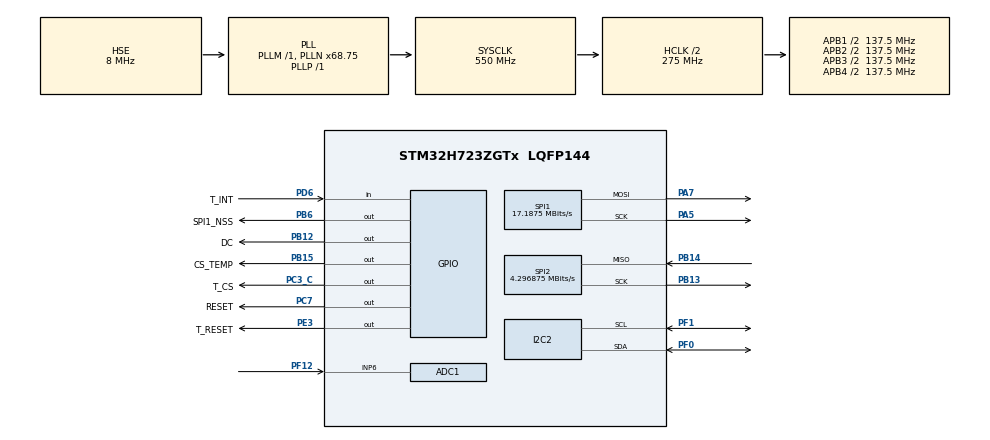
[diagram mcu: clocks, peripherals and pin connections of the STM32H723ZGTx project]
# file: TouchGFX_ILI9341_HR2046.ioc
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ADC1.Channel-4\#ChannelRegularConversion=ADC_CHANNEL_6
ADC1.ClockPrescaler=ADC_CLOCK_ASYNC_DIV256
ADC1.NbrOfConversionFlag=1
ADC1.OffsetNumber-4\#ChannelRegularConversion=ADC_OFFSET_NONE
ADC1.OffsetSignedSaturation-4\#ChannelRegularConversion=DISABLE
ADC1.Rank-4\#ChannelRegularConversion=1
ADC1.SamplingTime-4\#ChannelRegularConversion=ADC_SAMPLETIME_810CYCLES_5
ADC1.master=1
Dma.Request0=SPI1_TX
Dma.SPI1_TX.0.Direction=DMA_MEMORY_TO_PERIPH
Dma.SPI1_TX.0.EventEnable=DISABLE
Dma.SPI1_TX.0.FIFOMode=DMA_FIFOMODE_ENABLE
Dma.SPI1_TX.0.FIFOThreshold=DMA_FIFO_THRESHOLD_FULL
Dma.SPI1_TX.0.Instance=DMA1_Stream0
Dma.SPI1_TX.0.MemBurst=DMA_MBURST_SINGLE
Dma.SPI1_TX.0.MemDataAlignment=DMA_MDATAALIGN_BYTE
Dma.SPI1_TX.0.MemInc=DMA_MINC_ENABLE
Dma.SPI1_TX.0.Mode=DMA_NORMAL
Dma.SPI1_TX.0.PeriphBurst=DMA_PBURST_SINGLE
Dma.SPI1_TX.0.PeriphDataAlignment=DMA_PDATAALIGN_BYTE
Dma.SPI1_TX.0.PeriphInc=DMA_PINC_DISABLE
Dma.SPI1_TX.0.Polarity=HAL_DMAMUX_REQ_GEN_RISING
Dma.SPI1_TX.0.Priority=DMA_PRIORITY_LOW
Dma.SPI1_TX.0.RequestNumber=1
Dma.SPI1_TX.0.SignalID=NONE
Dma.SPI1_TX.0.SyncEnable=DISABLE
Dma.SPI1_TX.0.SyncPolarity=HAL_DMAMUX_SYNC_NO_EVENT
Dma.SPI1_TX.0.SyncRequestNumber=1
Dma.SPI1_TX.0.SyncSignalID=NONE
I2C2.Speed=100
I2C2.Timing=0x60404E72
Mcu.Family=STM32H7
Mcu.Name=STM32H723ZGTx
Mcu.Package=LQFP144
NVIC.DMA1_Stream0_IRQn=true\:0\:0\:false\:false\:true\:false\:true\:true
NVIC.PriorityGroup=NVIC_PRIORITYGROUP_4
NVIC.SPI1_IRQn=true\:0\:0\:false\:false\:true\:true\:true\:true
NVIC.TIM2_IRQn=true\:0\:0\:false\:false\:true\:true\:true\:true
NVIC.TIM3_IRQn=true\:0\:0\:false\:false\:true\:true\:true\:true
NVIC.TIM4_IRQn=true\:0\:0\:false\:false\:true\:true\:true\:true
PA5.Mode=TX_Only_Simplex_Unidirect_Master
PA5.Signal=SPI1_SCK
PA7.Mode=TX_Only_Simplex_Unidirect_Master
PA7.Signal=SPI1_MOSI
PB12.GPIO_Label=DC
PB12.Signal=GPIO_Output
PB13.Mode=RX_Only_Simplex_Unidirect_Master
PB13.Signal=SPI2_SCK
PB14.Mode=RX_Only_Simplex_Unidirect_Master
PB14.Signal=SPI2_MISO
PB15.GPIO_Label=CS_TEMP
PB15.Signal=GPIO_Output
PB6.GPIO_Label=SPI1_NSS
PB6.Signal=GPIO_Output
PC3_C.GPIO_Label=T_CS
PC3_C.Signal=GPIO_Output
PC7.GPIO_Label=RESET
PC7.Signal=GPIO_Output
PD6.GPIO_Label=T_INT
PD6.Signal=GPIO_Input
PE3.GPIO_Label=T_RESET
PE3.Signal=GPIO_Output
PF0.Mode=I2C
PF0.Signal=I2C2_SDA
PF1.Mode=I2C
PF1.Signal=I2C2_SCL
PF12.Mode=IN6-Single-Ended
PF12.Signal=ADC1_INP6
PH0-OSC_IN.Mode=HSE-External-Oscillator
PH0-OSC_IN.Signal=RCC_OSC_IN
PH1-OSC_OUT.Mode=HSE-External-Oscillator
PH1-OSC_OUT.Signal=RCC_OSC_OUT
ProjectManager.HeapSize=0x200
ProjectManager.StackSize=0x400
ProjectManager.TargetToolchain=STM32CubeIDE
RCC.ADCFreq_Value=96000000
RCC.APB1Freq_Value=137500000
RCC.APB2Freq_Value=137500000
RCC.APB3Freq_Value=137500000
RCC.APB4Freq_Value=137500000
RCC.CortexFreq_Value=550000000
RCC.D1PPRE=RCC_APB3_DIV2
RCC.D2PPRE1=RCC_APB1_DIV2
RCC.D2PPRE2=RCC_APB2_DIV2
RCC.D3PPRE=RCC_APB4_DIV2
RCC.DIVM1=1
RCC.DIVM2=1
RCC.DIVN1=68
RCC.DIVN2=24
RCC.DIVP1=1
RCC.DIVQ1=4
RCC.HCLKFreq_Value=275000000
RCC.HPRE=RCC_HCLK_DIV2
RCC.HSE_VALUE=8000000
RCC.PLLFRACN=6144
RCC.PLLSourceVirtual=RCC_PLLSOURCE_HSE
RCC.SYSCLKFreq_VALUE=550000000
RCC.SYSCLKSource=RCC_SYSCLKSOURCE_PLLCLK
RCC.USBCLockSelection=RCC_USBCLKSOURCE_HSI48
RCC.USBFreq_Value=48000000
SPI1.BaudRatePrescaler=SPI_BAUDRATEPRESCALER_8
SPI1.CalculateBaudRate=17.1875 MBits/s
SPI1.DataSize=SPI_DATASIZE_8BIT
SPI1.Direction=SPI_DIRECTION_2LINES_TXONLY
SPI1.Mode=SPI_MODE_MASTER
SPI1.VirtualType=VM_MASTER
SPI2.BaudRatePrescaler=SPI_BAUDRATEPRESCALER_32
SPI2.CalculateBaudRate=4.296875 MBits/s
SPI2.DataSize=SPI_DATASIZE_16BIT
SPI2.Direction=SPI_DIRECTION_2LINES_RXONLY
SPI2.Mode=SPI_MODE_MASTER
SPI2.VirtualType=VM_MASTER
STMicroelectronics.X-CUBE-TOUCHGFX.4.20.0.ApplicationCcGraphicsJjApplication=TouchGFXOoGenerator
STMicroelectronics.X-CUBE-TOUCHGFX.4.20.0.tgfx_buffering_strategy=Partial
STMicroelectronics.X-CUBE-TOUCHGFX.4.20.0.tgfx_custom_height=240
STMicroelectronics.X-CUBE-TOUCHGFX.4.20.0.tgfx_custom_width=320
STMicroelectronics.X-CUBE-TOUCHGFX.4.20.0_IsPackSelfContextualization=true
TIM2.Period=500
TIM2.Prescaler=27500-1
TIM3.Period=2500-1
TIM3.Prescaler=27500-1
TIM4.Period=100-1
TIM4.Prescaler=27500-1
VP_CRC_VS_CRC.Mode=CRC_Activate
VP_STMicroelectronics.X-CUBE-TOUCHGFX_VS_GraphicsJjApplication_4.20.0.Mode=GraphicsJjApplication
VP_TIM2_VS_ClockSourceINT.Mode=Internal
VP_TIM3_VS_ClockSourceINT.Mode=Internal
VP_TIM4_VS_ClockSourceINT.Mode=Internal
board=NUCLEO-H723ZG

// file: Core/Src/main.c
/* USER CODE BEGIN Header */
/**
  ******************************************************************************
  * @file           : main.c
  * @brief          : Main program body
  ******************************************************************************
  * @attention
  *
  * Copyright (c) 2022 STMicroelectronics.
  * All rights reserved.
  *
  * This software is licensed under terms that can be found in the LICENSE file
  * in the root directory of this software component.
  * If no LICENSE file comes with this software, it is provided AS-IS.
  *
  ******************************************************************************
  */
/* USER CODE END Header */
#include "main.h"
#include "app_touchgfx.h"

/* USER CODE BEGIN Includes */
#include "../../Display_drivers/ili9341.h"
#include "../../Hardware_Interfacee/temp_sensor.h"
#include "../../Hardware_Interfacee/pressure_sensor.h"
#include "FIR.h"

/* USER CODE END Includes */

ADC_HandleTypeDef hadc1;

CRC_HandleTypeDef hcrc;

I2C_HandleTypeDef hi2c2;

SPI_HandleTypeDef hspi1;
SPI_HandleTypeDef hspi2;
DMA_HandleTypeDef hdma_spi1_tx;

TIM_HandleTypeDef htim2;
TIM_HandleTypeDef htim3;
TIM_HandleTypeDef htim4;

void SystemClock_Config(void);
static void MX_GPIO_Init(void);
static void MX_SPI1_Init(void);
static void MX_DMA_Init(void);
static void MX_TIM2_Init(void);
static void MX_CRC_Init(void);
static void MX_I2C2_Init(void);
static void MX_SPI2_Init(void);
static void MX_TIM3_Init(void);
static void MX_ADC1_Init(void);
static void MX_TIM4_Init(void);

/* USER CODE BEGIN 0 */
extern void touchgfxSignalVSync();
/* USER CODE END 0 */

int main(void)
{

  /* MCU Configuration--------------------------------------------------------*/

  /* Reset of all peripherals, Initializes the Flash interface and the Systick. */
  HAL_Init();

  /* Configure the system clock */
  SystemClock_Config();

  /* USER CODE BEGIN SysInit */
  __HAL_RCC_DMA1_CLK_ENABLE();

  //init digital filters
  FIRFilter_pressure_Init();
  FIRFilter_temp_Init();

  /* USER CODE END SysInit */

  /* Initialize all configured peripherals */
  MX_GPIO_Init();
  MX_SPI1_Init();
  MX_DMA_Init();
  MX_TIM2_Init();
  MX_CRC_Init();
  MX_I2C2_Init();
  MX_SPI2_Init();
  MX_TIM3_Init();
  MX_ADC1_Init();
  MX_TIM4_Init();
  MX_TouchGFX_Init();
  /* USER CODE BEGIN 2 */

  //calibrate adc1
  HAL_ADCEx_Calibration_Start(&hadc1, ADC_CALIB_OFFSET_LINEARITY, ADC_SINGLE_ENDED);

  //start timers
    HAL_TIM_Base_Start_IT(&htim2);
    HAL_TIM_Base_Start_IT(&htim3);
    HAL_TIM_Base_Start_IT(&htim4);

  /* USER CODE END 2 */

  /* Infinite loop */
  while (1)
  {

  MX_TouchGFX_Process();
  }
}

void SystemClock_Config(void)
{
  RCC_OscInitTypeDef RCC_OscInitStruct = {0};
  RCC_ClkInitTypeDef RCC_ClkInitStruct = {0};

  /** Supply configuration update enable
  */
  HAL_PWREx_ConfigSupply(PWR_LDO_SUPPLY);

  /** Configure the main internal regulator output voltage
  */
  __HAL_PWR_VOLTAGESCALING_CONFIG(PWR_REGULATOR_VOLTAGE_SCALE0);

  while(!__HAL_PWR_GET_FLAG(PWR_FLAG_VOSRDY)) {}

  /** Macro to configure the PLL clock source
  */
  __HAL_RCC_PLL_PLLSOURCE_CONFIG(RCC_PLLSOURCE_HSE);

  /** Initializes the RCC Oscillators according to the specified parameters
  * in the RCC_OscInitTypeDef structure.
  */
  RCC_OscInitStruct.OscillatorType = RCC_OSCILLATORTYPE_HSE;
  RCC_OscInitStruct.HSEState = RCC_HSE_ON;
  RCC_OscInitStruct.PLL.PLLState = RCC_PLL_ON;
  RCC_OscInitStruct.PLL.PLLSource = RCC_PLLSOURCE_HSE;
  RCC_OscInitStruct.PLL.PLLM = 1;
  RCC_OscInitStruct.PLL.PLLN = 68;
  RCC_OscInitStruct.PLL.PLLP = 1;
  RCC_OscInitStruct.PLL.PLLQ = 4;
  RCC_OscInitStruct.PLL.PLLR = 2;
  RCC_OscInitStruct.PLL.PLLRGE = RCC_PLL1VCIRANGE_3;
  RCC_OscInitStruct.PLL.PLLVCOSEL = RCC_PLL1VCOWIDE;
  RCC_OscInitStruct.PLL.PLLFRACN = 6144;
  if (HAL_RCC_OscConfig(&RCC_OscInitStruct) != HAL_OK)
  {
    Error_Handler();
  }

  /** Initializes the CPU, AHB and APB buses clocks
  */
  RCC_ClkInitStruct.ClockType = RCC_CLOCKTYPE_HCLK|RCC_CLOCKTYPE_SYSCLK
                              |RCC_CLOCKTYPE_PCLK1|RCC_CLOCKTYPE_PCLK2
                              |RCC_CLOCKTYPE_D3PCLK1|RCC_CLOCKTYPE_D1PCLK1;
  RCC_ClkInitStruct.SYSCLKSource = RCC_SYSCLKSOURCE_PLLCLK;
  RCC_ClkInitStruct.SYSCLKDivider = RCC_SYSCLK_DIV1;
  RCC_ClkInitStruct.AHBCLKDivider = RCC_HCLK_DIV2;
  RCC_ClkInitStruct.APB3CLKDivider = RCC_APB3_DIV2;
  RCC_ClkInitStruct.APB1CLKDivider = RCC_APB1_DIV2;
  RCC_ClkInitStruct.APB2CLKDivider = RCC_APB2_DIV2;
  RCC_ClkInitStruct.APB4CLKDivider = RCC_APB4_DIV2;

  if (HAL_RCC_ClockConfig(&RCC_ClkInitStruct, FLASH_LATENCY_3) != HAL_OK)
  {
    Error_Handler();
  }
}

static void MX_ADC1_Init(void)
{

  ADC_MultiModeTypeDef multimode = {0};
  ADC_ChannelConfTypeDef sConfig = {0};

  /** Common config
  */
  hadc1.Instance = ADC1;
  hadc1.Init.ClockPrescaler = ADC_CLOCK_ASYNC_DIV256;
  hadc1.Init.Resolution = ADC_RESOLUTION_16B;
  hadc1.Init.ScanConvMode = ADC_SCAN_DISABLE;
  hadc1.Init.EOCSelection = ADC_EOC_SINGLE_CONV;
  hadc1.Init.LowPowerAutoWait = DISABLE;
  hadc1.Init.ContinuousConvMode = DISABLE;
  hadc1.Init.NbrOfConversion = 1;
  hadc1.Init.DiscontinuousConvMode = DISABLE;
  hadc1.Init.ExternalTrigConv = ADC_SOFTWARE_START;
  hadc1.Init.ExternalTrigConvEdge = ADC_EXTERNALTRIGCONVEDGE_NONE;
  hadc1.Init.ConversionDataManagement = ADC_CONVERSIONDATA_DR;
  hadc1.Init.Overrun = ADC_OVR_DATA_PRESERVED;
  hadc1.Init.LeftBitShift = ADC_LEFTBITSHIFT_NONE;
  hadc1.Init.OversamplingMode = DISABLE;
  if (HAL_ADC_Init(&hadc1) != HAL_OK)
  {
    Error_Handler();
  }

  /** Configure the ADC multi-mode
  */
  multimode.Mode = ADC_MODE_INDEPENDENT;
  if (HAL_ADCEx_MultiModeConfigChannel(&hadc1, &multimode) != HAL_OK)
  {
    Error_Handler();
  }

  /** Configure Regular Channel
  */
  sConfig.Channel = ADC_CHANNEL_6;
  sConfig.Rank = ADC_REGULAR_RANK_1;
  sConfig.SamplingTime = ADC_SAMPLETIME_810CYCLES_5;
  sConfig.SingleDiff = ADC_SINGLE_ENDED;
  sConfig.OffsetNumber = ADC_OFFSET_NONE;
  sConfig.Offset = 0;
  sConfig.OffsetSignedSaturation = DISABLE;
  if (HAL_ADC_ConfigChannel(&hadc1, &sConfig) != HAL_OK)
  {
    Error_Handler();
  }

}

static void MX_CRC_Init(void)
{

  hcrc.Instance = CRC;
  hcrc.Init.DefaultPolynomialUse = DEFAULT_POLYNOMIAL_ENABLE;
  hcrc.Init.DefaultInitValueUse = DEFAULT_INIT_VALUE_ENABLE;
  hcrc.Init.InputDataInversionMode = CRC_INPUTDATA_INVERSION_NONE;
  hcrc.Init.OutputDataInversionMode = CRC_OUTPUTDATA_INVERSION_DISABLE;
  hcrc.InputDataFormat = CRC_INPUTDATA_FORMAT_BYTES;
  if (HAL_CRC_Init(&hcrc) != HAL_OK)
  {
    Error_Handler();
  }

}

static void MX_I2C2_Init(void)
{

  hi2c2.Instance = I2C2;
  hi2c2.Init.Timing = 0x60404E72;
  hi2c2.Init.OwnAddress1 = 0;
  hi2c2.Init.AddressingMode = I2C_ADDRESSINGMODE_7BIT;
  hi2c2.Init.DualAddressMode = I2C_DUALADDRESS_DISABLE;
  hi2c2.Init.OwnAddress2 = 0;
  hi2c2.Init.OwnAddress2Masks = I2C_OA2_NOMASK;
  hi2c2.Init.GeneralCallMode = I2C_GENERALCALL_DISABLE;
  hi2c2.Init.NoStretchMode = I2C_NOSTRETCH_DISABLE;
  if (HAL_I2C_Init(&hi2c2) != HAL_OK)
  {
    Error_Handler();
  }

  /** Configure Analogue filter
  */
  if (HAL_I2CEx_ConfigAnalogFilter(&hi2c2, I2C_ANALOGFILTER_ENABLE) != HAL_OK)
  {
    Error_Handler();
  }

  /** Configure Digital filter
  */
  if (HAL_I2CEx_ConfigDigitalFilter(&hi2c2, 0) != HAL_OK)
  {
    Error_Handler();
  }

}

static void MX_SPI1_Init(void)
{

  /* SPI1 parameter configuration*/
  hspi1.Instance = SPI1;
  hspi1.Init.Mode = SPI_MODE_MASTER;
  hspi1.Init.Direction = SPI_DIRECTION_2LINES_TXONLY;
  hspi1.Init.DataSize = SPI_DATASIZE_8BIT;
  hspi1.Init.CLKPolarity = SPI_POLARITY_LOW;
  hspi1.Init.CLKPhase = SPI_PHASE_1EDGE;
  hspi1.Init.NSS = SPI_NSS_SOFT;
  hspi1.Init.BaudRatePrescaler = SPI_BAUDRATEPRESCALER_8;
  hspi1.Init.FirstBit = SPI_FIRSTBIT_MSB;
  hspi1.Init.TIMode = SPI_TIMODE_DISABLE;
  hspi1.Init.CRCCalculation = SPI_CRCCALCULATION_DISABLE;
  hspi1.Init.CRCPolynomial = 0x0;
  hspi1.Init.NSSPMode = SPI_NSS_PULSE_ENABLE;
  hspi1.Init.NSSPolarity = SPI_NSS_POLARITY_LOW;
  hspi1.Init.FifoThreshold = SPI_FIFO_THRESHOLD_01DATA;
  hspi1.Init.TxCRCInitializationPattern = SPI_CRC_INITIALIZATION_ALL_ZERO_PATTERN;
  hspi1.Init.RxCRCInitializationPattern = SPI_CRC_INITIALIZATION_ALL_ZERO_PATTERN;
  hspi1.Init.MasterSSIdleness = SPI_MASTER_SS_IDLENESS_00CYCLE;
  hspi1.Init.MasterInterDataIdleness = SPI_MASTER_INTERDATA_IDLENESS_00CYCLE;
  hspi1.Init.MasterReceiverAutoSusp = SPI_MASTER_RX_AUTOSUSP_DISABLE;
  hspi1.Init.MasterKeepIOState = SPI_MASTER_KEEP_IO_STATE_DISABLE;
  hspi1.Init.IOSwap = SPI_IO_SWAP_DISABLE;
  if (HAL_SPI_Init(&hspi1) != HAL_OK)
  {
    Error_Handler();
  }

}

static void MX_SPI2_Init(void)
{

  /* SPI2 parameter configuration*/
  hspi2.Instance = SPI2;
  hspi2.Init.Mode = SPI_MODE_MASTER;
  hspi2.Init.Direction = SPI_DIRECTION_2LINES_RXONLY;
  hspi2.Init.DataSize = SPI_DATASIZE_16BIT;
  hspi2.Init.CLKPolarity = SPI_POLARITY_LOW;
  hspi2.Init.CLKPhase = SPI_PHASE_1EDGE;
  hspi2.Init.NSS = SPI_NSS_SOFT;
  hspi2.Init.BaudRatePrescaler = SPI_BAUDRATEPRESCALER_32;
  hspi2.Init.FirstBit = SPI_FIRSTBIT_MSB;
  hspi2.Init.TIMode = SPI_TIMODE_DISABLE;
  hspi2.Init.CRCCalculation = SPI_CRCCALCULATION_DISABLE;
  hspi2.Init.CRCPolynomial = 0x0;
  hspi2.Init.NSSPMode = SPI_NSS_PULSE_ENABLE;
  hspi2.Init.NSSPolarity = SPI_NSS_POLARITY_LOW;
  hspi2.Init.FifoThreshold = SPI_FIFO_THRESHOLD_01DATA;
  hspi2.Init.TxCRCInitializationPattern = SPI_CRC_INITIALIZATION_ALL_ZERO_PATTERN;
  hspi2.Init.RxCRCInitializationPattern = SPI_CRC_INITIALIZATION_ALL_ZERO_PATTERN;
  hspi2.Init.MasterSSIdleness = SPI_MASTER_SS_IDLENESS_00CYCLE;
  hspi2.Init.MasterInterDataIdleness = SPI_MASTER_INTERDATA_IDLENESS_00CYCLE;
  hspi2.Init.MasterReceiverAutoSusp = SPI_MASTER_RX_AUTOSUSP_DISABLE;
  hspi2.Init.MasterKeepIOState = SPI_MASTER_KEEP_IO_STATE_DISABLE;
  hspi2.Init.IOSwap = SPI_IO_SWAP_DISABLE;
  if (HAL_SPI_Init(&hspi2) != HAL_OK)
  {
    Error_Handler();
  }

}

static void MX_TIM2_Init(void)
{

  TIM_ClockConfigTypeDef sClockSourceConfig = {0};
  TIM_MasterConfigTypeDef sMasterConfig = {0};

  htim2.Instance = TIM2;
  htim2.Init.Prescaler = 27500-1;
  htim2.Init.CounterMode = TIM_COUNTERMODE_UP;
  htim2.Init.Period = 500;
  htim2.Init.ClockDivision = TIM_CLOCKDIVISION_DIV1;
  htim2.Init.AutoReloadPreload = TIM_AUTORELOAD_PRELOAD_DISABLE;
  if (HAL_TIM_Base_Init(&htim2) != HAL_OK)
  {
    Error_Handler();
  }
  sClockSourceConfig.ClockSource = TIM_CLOCKSOURCE_INTERNAL;
  if (HAL_TIM_ConfigClockSource(&htim2, &sClockSourceConfig) != HAL_OK)
  {
    Error_Handler();
  }
  sMasterConfig.MasterOutputTrigger = TIM_TRGO_RESET;
  sMasterConfig.MasterSlaveMode = TIM_MASTERSLAVEMODE_DISABLE;
  if (HAL_TIMEx_MasterConfigSynchronization(&htim2, &sMasterConfig) != HAL_OK)
  {
    Error_Handler();
  }

}

static void MX_TIM3_Init(void)
{

  TIM_ClockConfigTypeDef sClockSourceConfig = {0};
  TIM_MasterConfigTypeDef sMasterConfig = {0};

  htim3.Instance = TIM3;
  htim3.Init.Prescaler = 27500-1;
  htim3.Init.CounterMode = TIM_COUNTERMODE_UP;
  htim3.Init.Period = 2500-1;
  htim3.Init.ClockDivision = TIM_CLOCKDIVISION_DIV1;
  htim3.Init.AutoReloadPreload = TIM_AUTORELOAD_PRELOAD_DISABLE;
  if (HAL_TIM_Base_Init(&htim3) != HAL_OK)
  {
    Error_Handler();
  }
  sClockSourceConfig.ClockSource = TIM_CLOCKSOURCE_INTERNAL;
  if (HAL_TIM_ConfigClockSource(&htim3, &sClockSourceConfig) != HAL_OK)
  {
    Error_Handler();
  }
  sMasterConfig.MasterOutputTrigger = TIM_TRGO_RESET;
  sMasterConfig.MasterSlaveMode = TIM_MASTERSLAVEMODE_DISABLE;
  if (HAL_TIMEx_MasterConfigSynchronization(&htim3, &sMasterConfig) != HAL_OK)
  {
    Error_Handler();
  }

}

static void MX_TIM4_Init(void)
{

  TIM_ClockConfigTypeDef sClockSourceConfig = {0};
  TIM_MasterConfigTypeDef sMasterConfig = {0};

  htim4.Instance = TIM4;
  htim4.Init.Prescaler = 27500-1;
  htim4.Init.CounterMode = TIM_COUNTERMODE_UP;
  htim4.Init.Period = 100-1;
  htim4.Init.ClockDivision = TIM_CLOCKDIVISION_DIV1;
  htim4.Init.AutoReloadPreload = TIM_AUTORELOAD_PRELOAD_DISABLE;
  if (HAL_TIM_Base_Init(&htim4) != HAL_OK)
  {
    Error_Handler();
  }
  sClockSourceConfig.ClockSource = TIM_CLOCKSOURCE_INTERNAL;
  if (HAL_TIM_ConfigClockSource(&htim4, &sClockSourceConfig) != HAL_OK)
  {
    Error_Handler();
  }
  sMasterConfig.MasterOutputTrigger = TIM_TRGO_RESET;
  sMasterConfig.MasterSlaveMode = TIM_MASTERSLAVEMODE_DISABLE;
  if (HAL_TIMEx_MasterConfigSynchronization(&htim4, &sMasterConfig) != HAL_OK)
  {
    Error_Handler();
  }

}

static void MX_DMA_Init(void)
{

  /* DMA controller clock enable */
  __HAL_RCC_DMA1_CLK_ENABLE();

  /* DMA interrupt init */
  /* DMA1_Stream0_IRQn interrupt configuration */
  HAL_NVIC_SetPriority(DMA1_Stream0_IRQn, 0, 0);
  HAL_NVIC_EnableIRQ(DMA1_Stream0_IRQn);

}

static void MX_GPIO_Init(void)
{
  GPIO_InitTypeDef GPIO_InitStruct = {0};

  /* GPIO Ports Clock Enable */
  __HAL_RCC_GPIOE_CLK_ENABLE();
  __HAL_RCC_GPIOF_CLK_ENABLE();
  __HAL_RCC_GPIOH_CLK_ENABLE();
  __HAL_RCC_GPIOC_CLK_ENABLE();
  __HAL_RCC_GPIOA_CLK_ENABLE();
  __HAL_RCC_GPIOB_CLK_ENABLE();
  __HAL_RCC_GPIOD_CLK_ENABLE();

  /*Configure GPIO pin Output Level */
  HAL_GPIO_WritePin(T_RESET_GPIO_Port, T_RESET_Pin, GPIO_PIN_RESET);

  /*Configure GPIO pin Output Level */
  HAL_GPIO_WritePin(GPIOC, T_CS_Pin|RESET_Pin, GPIO_PIN_RESET);

  /*Configure GPIO pin Output Level */
  HAL_GPIO_WritePin(GPIOB, DC_Pin|CS_TEMP_Pin|SPI1_NSS_Pin, GPIO_PIN_RESET);

  /*Configure GPIO pin : T_RESET_Pin */
  GPIO_InitStruct.Pin = T_RESET_Pin;
  GPIO_InitStruct.Mode = GPIO_MODE_OUTPUT_PP;
  GPIO_InitStruct.Pull = GPIO_NOPULL;
  GPIO_InitStruct.Speed = GPIO_SPEED_FREQ_LOW;
  HAL_GPIO_Init(T_RESET_GPIO_Port, &GPIO_InitStruct);

  /*Configure GPIO pins : T_CS_Pin RESET_Pin */
  GPIO_InitStruct.Pin = T_CS_Pin|RESET_Pin;
  GPIO_InitStruct.Mode = GPIO_MODE_OUTPUT_PP;
  GPIO_InitStruct.Pull = GPIO_NOPULL;
  GPIO_InitStruct.Speed = GPIO_SPEED_FREQ_LOW;
  HAL_GPIO_Init(GPIOC, &GPIO_InitStruct);

  /*Configure GPIO pins : DC_Pin CS_TEMP_Pin SPI1_NSS_Pin */
  GPIO_InitStruct.Pin = DC_Pin|CS_TEMP_Pin|SPI1_NSS_Pin;
  GPIO_InitStruct.Mode = GPIO_MODE_OUTPUT_PP;
  GPIO_InitStruct.Pull = GPIO_NOPULL;
  GPIO_InitStruct.Speed = GPIO_SPEED_FREQ_LOW;
  HAL_GPIO_Init(GPIOB, &GPIO_InitStruct);

  /*Configure GPIO pin : T_INT_Pin */
  GPIO_InitStruct.Pin = T_INT_Pin;
  GPIO_InitStruct.Mode = GPIO_MODE_INPUT;
  GPIO_InitStruct.Pull = GPIO_NOPULL;
  HAL_GPIO_Init(T_INT_GPIO_Port, &GPIO_InitStruct);

}

/* USER CODE BEGIN 4 */

void HAL_TIM_PeriodElapsedCallback (TIM_HandleTypeDef * htim) {
	if(htim->Instance == TIM3) {
		/*
		 * Prescaler: 27500-1
		 * AutoreloadREG: 2500-1
		 * -> T = 250ms / f = 4 Hz
		 */
		temp_updateTemp(temp_getMAX6675Code());
		pressure_convertADCtoPressure(pressure_readADC());
	}
//	if(htim->Instance == TIM4) {
//		/*
//		 * Prescaler: 27500-1
//		 * AutoreloadREG: 100-1
//		 * -> T = 10ms / f = 100Hz
//		 */
//
//	}
	if(htim->Instance == TIM2) {
		touchgfxSignalVSync();
	}

}
/* USER CODE END 4 */

void Error_Handler(void)
{
  __disable_irq();
  while (1)
  {
  }
}
